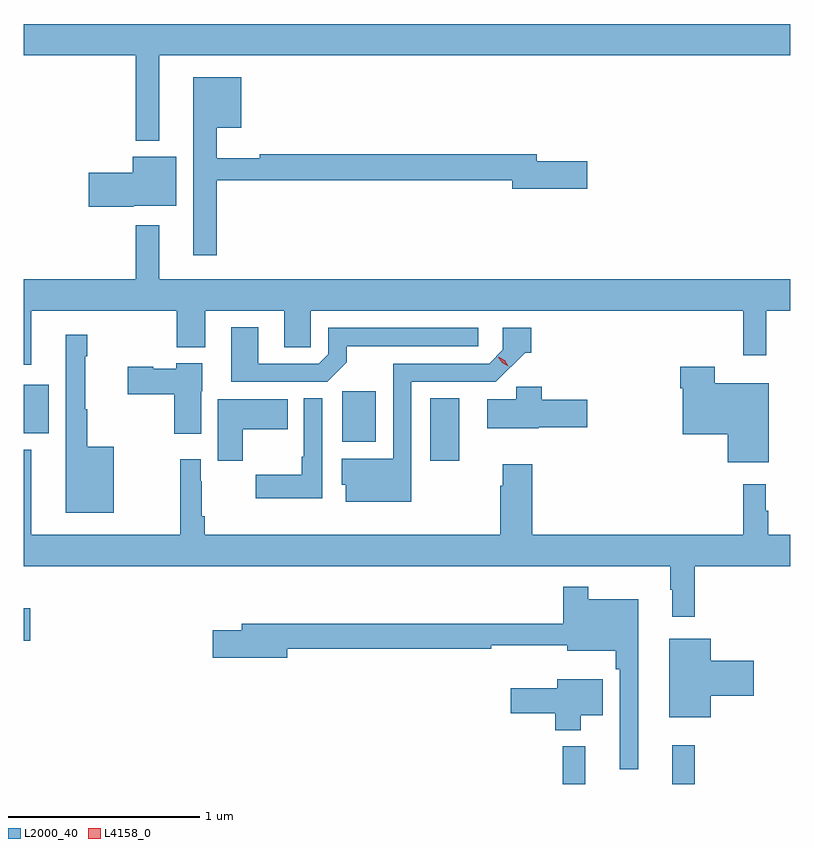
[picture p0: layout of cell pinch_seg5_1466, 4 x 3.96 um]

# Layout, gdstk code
import gdstk
lib = gdstk.Library(unit=1e-6, precision=1e-09)
def R(c, l, rs):  # rectangles x0, y0, x1, y1
    for r in rs: c.add(gdstk.rectangle(r[:2], r[2:], *l))
def P(c, l, *ps):  # polygons
    for p in ps: c.add(gdstk.Polygon(p, *l))
L2000_40 = (2000, 40)
L4158_0 = (4158, 0)

pinch_seg5_1466 = lib.new_cell('pinch_seg5_1466')
R(pinch_seg5_1466, L2000_40, [(361.633,832.98,361.751,833.176), (362.204,832.98,362.321,833.182), (358.82,833.726,358.855,833.896), (360.941,834.666,361.093,834.992), (360.482,834.764,360.658,835.028), (358.82,834.809,358.951,835.063)])
P(pinch_seg5_1466, L2000_40, [(359.527,836.78),(362.82,836.78),(362.82,836.944),(358.82,836.944),(358.82,836.78),(359.406,836.78),(359.406,836.336),(359.527,836.336)],
  [(359.827,836.128),(361.37,836.128),(361.37,836.086),(361.759,836.086),(361.759,836.228),(361.498,836.228),(361.498,836.264),(360.052,836.264),(360.052,836.245),(359.827,836.245),(359.827,836.402),(359.956,836.402),(359.956,836.665),(359.705,836.665),(359.705,835.737),(359.827,835.737)],
  [(359.394,835.997),(359.617,835.997),(359.617,836.251),(359.39,836.251),(359.39,836.168),(359.16,836.168),(359.16,835.99),(359.394,835.99)],
  [(358.861,835.448),(359.62,835.448),(359.62,835.259),(359.767,835.259),(359.767,835.448),(360.179,835.448),(360.179,835.258),(360.318,835.258),(360.318,835.448),(362.575,835.448),(362.575,835.215),(362.693,835.215),(362.693,835.448),(362.82,835.448),(362.82,835.612),(359.527,835.612),(359.527,835.894),(359.406,835.894),(359.406,835.612),(358.82,835.612),(358.82,835.167),(358.861,835.167)],
  [(360.507,835.179),(360.507,835.263),(361.192,835.263),(361.192,835.359),(360.408,835.359),(360.408,835.221),(360.36,835.173),(360.043,835.173),(360.043,835.363),(359.903,835.363),(359.903,835.077),(360.405,835.077)],
  [(360.843,835.077),(361.284,835.077),(361.436,835.229),(361.468,835.229),(361.468,835.359),(361.32,835.359),(361.32,835.245),(361.248,835.173),(360.747,835.173),(360.747,834.676),(360.479,834.676),(360.479,834.54),(360.5,834.54),(360.5,834.452),(360.843,834.452)],
  [(359.29,834.739),(359.153,834.739),(359.153,834.935),(359.143,834.935),(359.143,835.211),(359.153,835.211),(359.153,835.324),(359.039,835.324),(359.039,834.395),(359.29,834.395)],
  [(359.746,835.029),(359.752,835.029),(359.752,835.174),(359.616,835.174),(359.616,835.147),(359.496,835.147),(359.496,835.155),(359.364,835.155),(359.364,835.013),(359.605,835.013),(359.605,834.807),(359.746,834.807)],
  [(362.707,835.069),(362.424,835.069),(362.424,835.156),(362.246,835.156),(362.246,835.043),(362.258,835.043),(362.258,834.803),(362.492,834.803),(362.492,834.659),(362.707,834.659)],
  [(361.506,834.842),(361.759,834.842),(361.759,834.984),(361.523,834.984),(361.523,835.053),(361.389,835.053),(361.389,834.988),(361.239,834.988),(361.239,834.836),(361.506,834.836)],
  [(360.378,834.992),(360.282,834.992),(360.282,834.688),(360.27,834.688),(360.27,834.592),(360.03,834.592),(360.03,834.47),(360.378,834.47)],
  [(359.964,834.83),(360.197,834.83),(360.197,834.988),(359.834,834.988),(359.834,834.666),(359.964,834.666)],
  [(362.321,834.116),(362.82,834.116),(362.82,834.28),(362.704,834.28),(362.704,834.404),(362.692,834.404),(362.692,834.544),(362.575,834.544),(362.575,834.28),(361.472,834.28),(361.472,834.649),(361.319,834.649),(361.319,834.536),(361.307,834.536),(361.307,834.28),(359.765,834.28),(359.765,834.376),(359.75,834.376),(359.75,834.56),(359.745,834.56),(359.745,834.673),(359.637,834.673),(359.637,834.28),(358.861,834.28),(358.861,834.724),(358.82,834.724),(358.82,834.116),(362.193,834.116),(362.193,833.993),(362.204,833.993),(362.204,833.853),(362.321,833.853)],
  [(362.026,833.944),(361.765,833.944),(361.765,834.01),(361.636,834.01),(361.636,833.815),(359.957,833.815),(359.957,833.781),(359.808,833.781),(359.808,833.639),(360.196,833.639),(360.196,833.686),(361.259,833.686),(361.259,833.704),(361.655,833.704),(361.655,833.675),(361.909,833.675),(361.909,833.579),(361.929,833.579),(361.929,833.058),(362.026,833.058)],
  [(362.404,833.441),(362.629,833.441),(362.629,833.624),(362.404,833.624),(362.404,833.737),(362.189,833.737),(362.189,833.327),(362.404,833.327)],
  [(361.726,833.339),(361.84,833.339),(361.84,833.527),(361.604,833.527),(361.604,833.479),(361.362,833.479),(361.362,833.35),(361.592,833.35),(361.592,833.261),(361.726,833.261)])
P(pinch_seg5_1466, L4158_0, [(361.349,835.159),(361.316,835.176),(361.295,835.207),(361.295,835.208),(361.295,835.208),(361.329,835.191),(361.349,835.16),(361.349,835.159)])

lib.write_gds('pinch_seg5_1466.gds')
